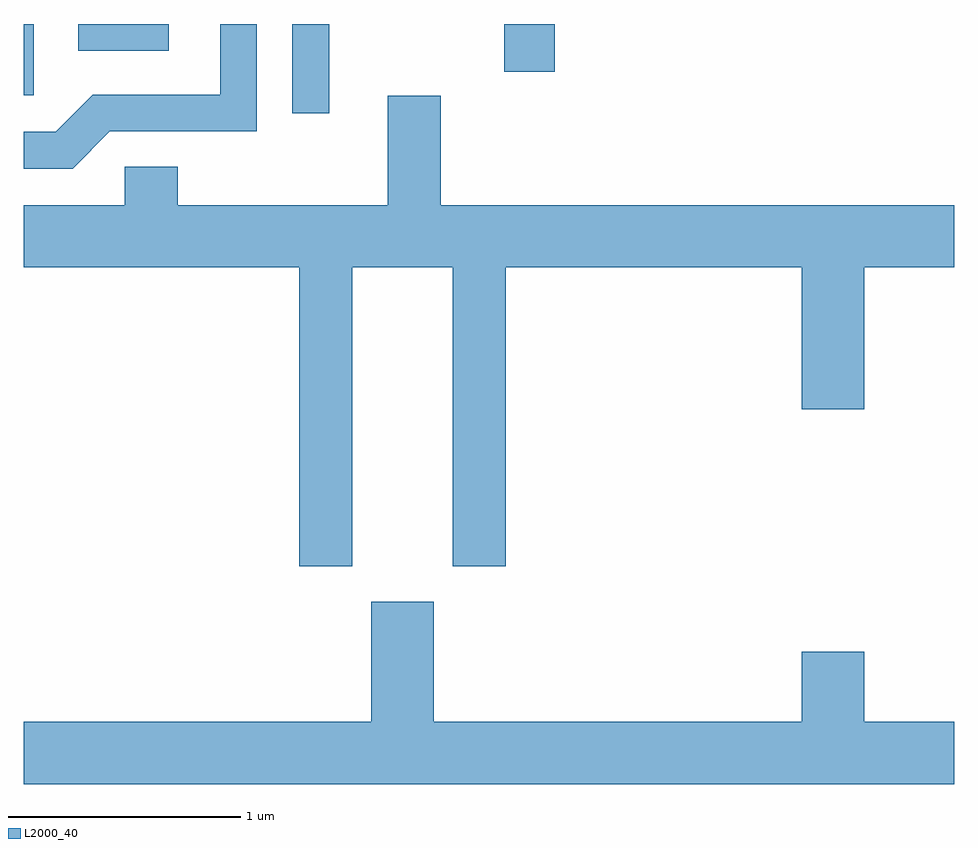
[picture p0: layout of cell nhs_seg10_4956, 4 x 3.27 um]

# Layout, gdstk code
import gdstk
lib = gdstk.Library(unit=1e-6, precision=1e-09)
def R(c, l, rs):  # rectangles x0, y0, x1, y1
    for r in rs: c.add(gdstk.rectangle(r[:2], r[2:], *l))
def P(c, l, *ps):  # polygons
    for p in ps: c.add(gdstk.Polygon(p, *l))
L2000_40 = (2000, 40)

nhs_seg10_4956 = lib.new_cell('nhs_seg10_4956')
R(nhs_seg10_4956, L2000_40, [(332.766,2110.138,332.924,2110.522), (331.611,2110.216,331.654,2110.522), (333.676,2110.316,333.894,2110.522), (331.846,2110.406,332.234,2110.522)])
P(nhs_seg10_4956, L2000_40, [(331.982,2110.061),(332.614,2110.061),(332.614,2110.522),(332.456,2110.522),(332.456,2110.219),(331.909,2110.219),(331.749,2110.059),(331.611,2110.059),(331.611,2109.901),(331.822,2109.901)],
  [(333.024,2109.476),(333.456,2109.476),(333.456,2108.191),(333.684,2108.191),(333.684,2109.476),(334.956,2109.476),(334.956,2108.866),(335.224,2108.866),(335.224,2109.476),(335.611,2109.476),(335.611,2109.744),(333.404,2109.744),(333.404,2110.214),(333.176,2110.214),(333.176,2109.744),(332.274,2109.744),(332.274,2109.909),(332.046,2109.909),(332.046,2109.744),(331.611,2109.744),(331.611,2109.476),(332.796,2109.476),(332.796,2108.191),(333.024,2108.191)],
  [(335.611,2107.524),(335.224,2107.524),(335.224,2107.824),(334.956,2107.824),(334.956,2107.524),(333.374,2107.524),(333.374,2108.039),(333.106,2108.039),(333.106,2107.524),(331.611,2107.524),(331.611,2107.256),(335.611,2107.256)])

lib.write_gds('nhs_seg10_4956.gds')
